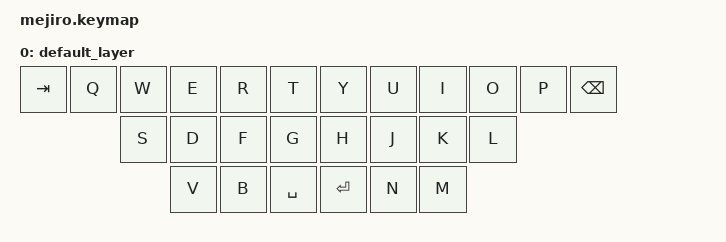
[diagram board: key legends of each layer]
/*
 * Copyright (c) 2020 The ZMK Contributors
 *
 * SPDX-License-Identifier: MIT
 */

#include <behaviors.dtsi>
#include <dt-bindings/zmk/keys.h>
#include <dt-bindings/zmk/bt.h>

#define BASE 0

/ {
        keymap {
                compatible = "zmk,keymap";

                default_layer {
// -----------------------------------------------------------------------------------------
// |  ESC |  Q  |  W  |  E  |  R  |  T  |   |  Y  |  U   |  I  |  O  |  P  | RBKT |
//              |  S  |  D  |  F  |  G  |   |  H  |  J   |  K  |  L  |             |
//                          |    SPC    |   |     RET    | 
//                          |  V  |  B  |   |  N  |  M   |
                        bindings = <
   &kp TAB   &kp Q &kp W &kp E &kp R &kp T       &kp Y   &kp U  &kp I     &kp O   &kp P    &kp BSPC
                   &kp S &kp D &kp F &kp G       &kp H   &kp J  &kp K     &kp L  
                         &kp V &kp B &kp SPACE   &kp RET &kp N &kp M
                        >;
                };

        };
};
